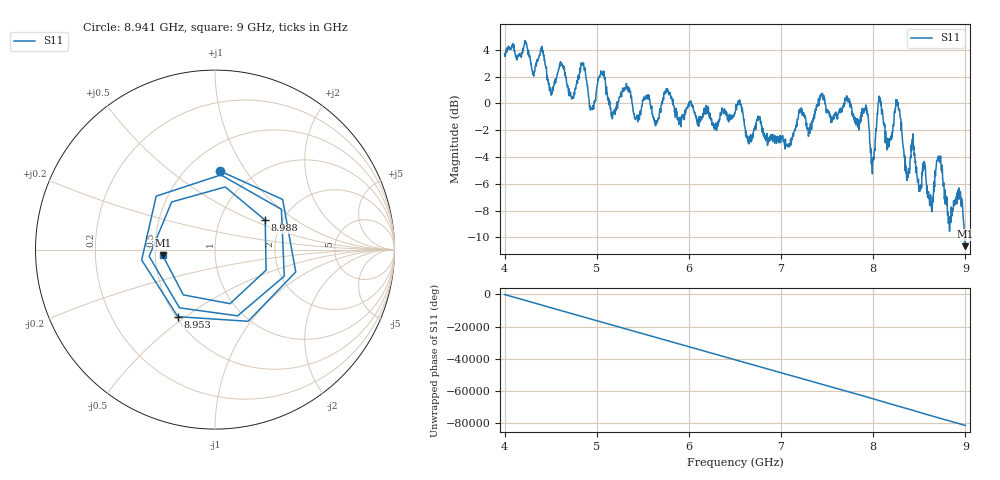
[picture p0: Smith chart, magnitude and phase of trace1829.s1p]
! Created with skrf 1.8.0 (http://scikit-rf.org).
# Hz S RI R 50.0
!freq ReS11 ImS11
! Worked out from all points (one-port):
!   1601 points, 4 GHz to 9 GHz, reference 50 ohm
!   lowest |S11| = -10.7 dB at 9 GHz (marker M1), VSWR 1.83, Z = 27.4 - j1.9 ohm
!   |S11| at or under -10 dB: 8.989347 GHz to end of sweep
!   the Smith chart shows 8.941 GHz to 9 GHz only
!   S11 on the Smith chart (normalised r, x): 8.941 GHz: 0.71, +0.77; 8.953 GHz: 0.51, -0.47; 8.988 GHz: 1.64, +0.60; 9 GHz: 0.55, -0.04
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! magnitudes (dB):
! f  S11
! 4 GHz  3.7
! 4.403 GHz  4.3
! 4.509 GHz  0.7
! 4.625 GHz  2.9
! 4.725 GHz  0.5
! 4.853 GHz  2.8
! 4.944 GHz  -0.4
! 5.053 GHz  2.3
! 5.169 GHz  -1.2
! 5.25 GHz  0.5
! 5.875 GHz  -1.2
! 6.5 GHz  -0.7
! 7.125 GHz  -2.4
! 7.75 GHz  0.1
! 7.922 GHz  -0.4
! 7.994 GHz  -4.1
! 8.062 GHz  0.5
! 8.162 GHz  -2.9
! 8.262 GHz  0.1
! 8.375 GHz  -5.4
! 8.434 GHz  -2.8
! 8.628 GHz  -7.6
! 8.709 GHz  -3.9
! 8.831 GHz  -9.1
! 8.941 GHz  -7.1
! 8.953 GHz  -7.4
! 8.988 GHz  -9.8
! 9 GHz  -10.7
